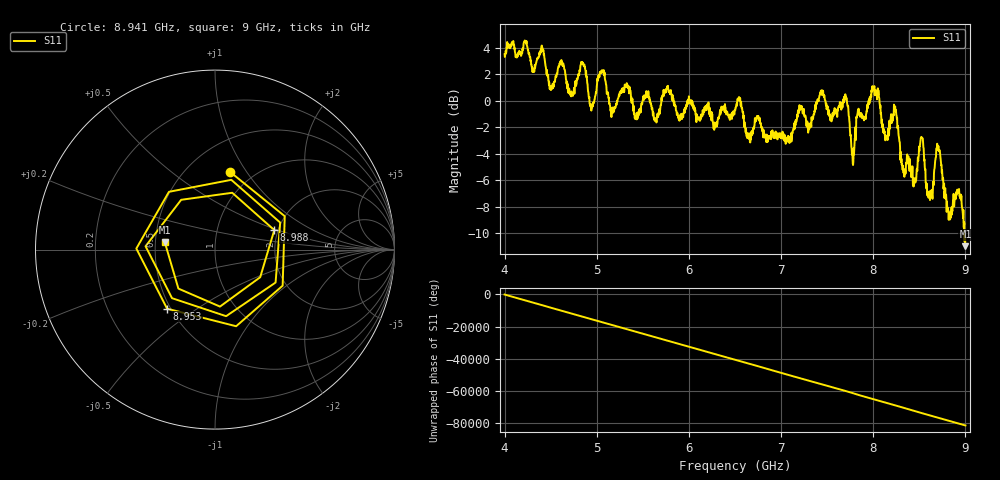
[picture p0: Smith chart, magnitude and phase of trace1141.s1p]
! Created with skrf 1.8.0 (http://scikit-rf.org).
# Hz S RI R 50.0
!freq ReS11 ImS11
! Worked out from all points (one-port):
!   1601 points, 4 GHz to 9 GHz, reference 50 ohm
!   lowest |S11| = -11.0 dB at 9 GHz (marker M1), VSWR 1.79, Z = 28.1 + j2.51 ohm
!   |S11| at or under -10 dB: 8.989739 GHz to 8.993705 GHz (3.966 MHz wide, 0.0441 % of centre); 8.994337 GHz to end of sweep
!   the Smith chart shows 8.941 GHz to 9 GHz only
!   S11 on the Smith chart (normalised r, x): 8.941 GHz: 0.79, +0.84; 8.953 GHz: 0.48, -0.38; 8.988 GHz: 1.91, +0.47; 9 GHz: 0.56, +0.05
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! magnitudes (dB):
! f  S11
! 4 GHz  3.5
! 4.403 GHz  4.2
! 4.506 GHz  1.0
! 4.625 GHz  2.9
! 4.734 GHz  0.5
! 4.853 GHz  2.8
! 4.947 GHz  -0.5
! 5.059 GHz  2.3
! 5.162 GHz  -0.8
! 5.25 GHz  0.6
! 5.875 GHz  -0.9
! 6.5 GHz  -0.7
! 7.125 GHz  -2.4
! 7.444 GHz  0.6
! 7.7 GHz  0.2
! 7.75 GHz  -2.5
! 7.788 GHz  -3.6
! 8.006 GHz  1.0
! 8.375 GHz  -4.6
! 8.453 GHz  -5.9
! 8.522 GHz  -2.7
! 8.619 GHz  -6.8
! 8.706 GHz  -3.5
! 8.819 GHz  -9.0
! 8.941 GHz  -7.1
! 8.953 GHz  -7.5
! 8.988 GHz  -9.2
! 9 GHz  -11.0
